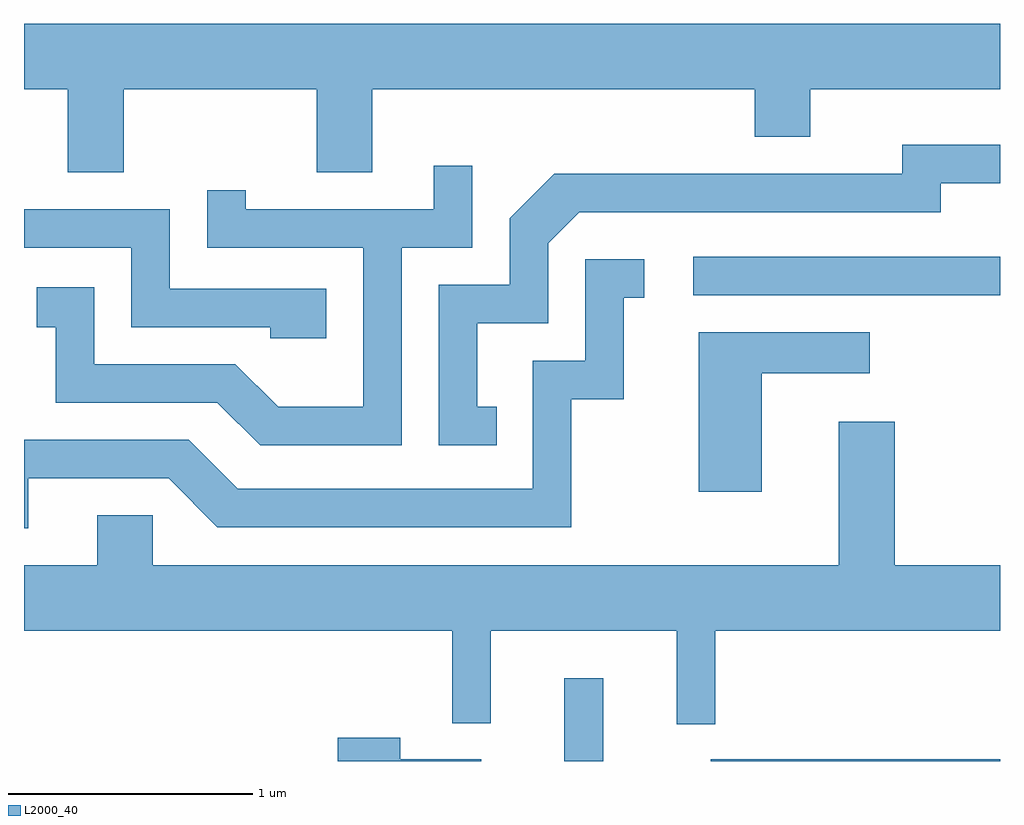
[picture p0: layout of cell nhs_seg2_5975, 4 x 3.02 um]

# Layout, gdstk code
import gdstk
lib = gdstk.Library(unit=1e-6, precision=1e-09)
def R(c, l, rs):  # rectangles x0, y0, x1, y1
    for r in rs: c.add(gdstk.rectangle(r[:2], r[2:], *l))
def P(c, l, *ps):  # polygons
    for p in ps: c.add(gdstk.Polygon(p, *l))
L2000_40 = (2000, 40)

nhs_seg2_5975 = lib.new_cell('nhs_seg2_5975')
R(nhs_seg2_5975, L2000_40, [(363.826,1027.802,363.984,1028.142), (364.426,1027.802,365.611,1027.809), (364.353,1029.711,365.611,1029.869)])
P(nhs_seg2_5975, L2000_40, [(362.019,1030.556),(362.811,1030.556),(362.811,1030.216),(363.039,1030.216),(363.039,1030.556),(364.606,1030.556),(364.606,1030.361),(364.834,1030.361),(364.834,1030.556),(365.611,1030.556),(365.611,1030.824),(361.611,1030.824),(361.611,1030.556),(361.791,1030.556),(361.791,1030.216),(362.019,1030.216)],
  [(363.548,1029.254),(363.469,1029.254),(363.469,1029.596),(363.759,1029.596),(363.759,1029.924),(363.887,1030.051),(365.369,1030.051),(365.369,1030.171),(365.611,1030.171),(365.611,1030.329),(365.211,1030.329),(365.211,1030.209),(363.784,1030.209),(363.601,1030.027),(363.601,1029.754),(363.311,1029.754),(363.311,1029.096),(363.548,1029.096)],
  [(363.159,1029.906),(363.449,1029.906),(363.449,1030.243),(363.291,1030.243),(363.291,1030.064),(362.519,1030.064),(362.519,1030.142),(362.361,1030.142),(362.361,1029.906),(363.001,1029.906),(363.001,1029.254),(362.652,1029.254),(362.477,1029.429),(361.899,1029.429),(361.899,1029.744),(361.663,1029.744),(361.663,1029.581),(361.741,1029.581),(361.741,1029.271),(362.404,1029.271),(362.579,1029.096),(363.159,1029.096)],
  [(362.849,1029.739),(362.209,1029.739),(362.209,1030.064),(361.611,1030.064),(361.611,1029.906),(362.051,1029.906),(362.051,1029.581),(362.621,1029.581),(362.621,1029.536),(362.849,1029.536)],
  [(361.629,1028.961),(362.204,1028.961),(362.404,1028.761),(363.854,1028.761),(363.854,1029.286),(364.069,1029.286),(364.069,1029.701),(364.153,1029.701),(364.153,1029.859),(363.911,1029.859),(363.911,1029.444),(363.696,1029.444),(363.696,1028.919),(362.487,1028.919),(362.287,1029.119),(361.611,1029.119),(361.611,1028.756),(361.629,1028.756)],
  [(364.634,1029.391),(365.078,1029.391),(365.078,1029.559),(364.376,1029.559),(364.376,1028.906),(364.634,1028.906)],
  [(364.444,1028.336),(365.611,1028.336),(365.611,1028.604),(365.179,1028.604),(365.179,1029.194),(364.951,1029.194),(364.951,1028.604),(362.139,1028.604),(362.139,1028.809),(361.911,1028.809),(361.911,1028.604),(361.611,1028.604),(361.611,1028.336),(363.366,1028.336),(363.366,1027.958),(363.524,1027.958),(363.524,1028.336),(364.286,1028.336),(364.286,1027.953),(364.444,1027.953)],
  [(363.484,1027.809),(363.154,1027.809),(363.154,1027.899),(362.896,1027.899),(362.896,1027.802),(363.484,1027.802)])

lib.write_gds('nhs_seg2_5975.gds')
